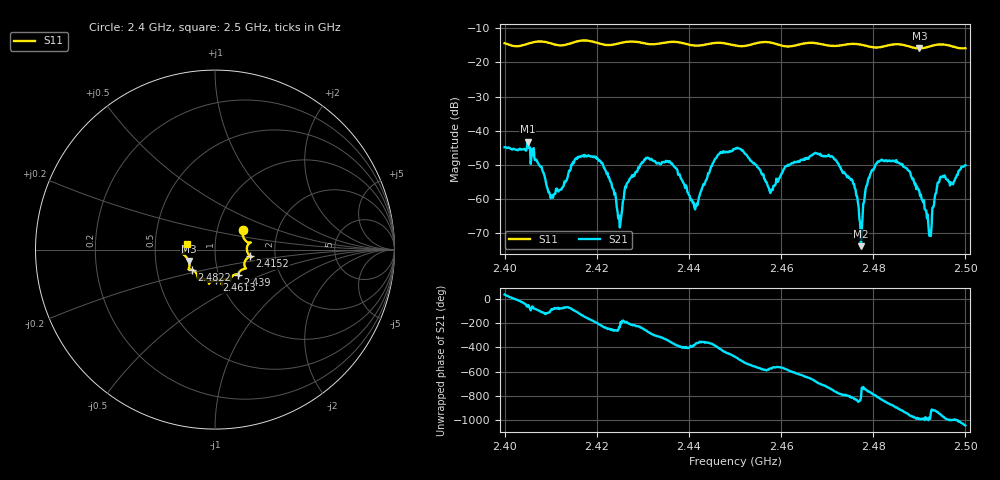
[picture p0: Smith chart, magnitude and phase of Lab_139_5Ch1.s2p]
# Hz S RI R 50
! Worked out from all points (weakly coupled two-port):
!   601 points, 2.4 GHz to 2.5 GHz, reference 50 ohm
!   highest |S21| = -43.22 dB at 2.405 GHz (marker M1); lowest = -73.7 dB at 2.4773 GHz (marker M2)
!   lowest |S11| = -15.9 dB at 2.49 GHz (marker M3), VSWR 1.38, Z = 36.9 - j4.81 ohm
!   |S11| at or under -10 dB: start of sweep to end of sweep
!   S12 and S22 are empty: the file has one direction only
!   S11 on the Smith chart (normalised r, x): 2.4 GHz: 1.33, +0.31; 2.4152 GHz: 1.48, -0.11; 2.439 GHz: 1.24, -0.36; 2.4613 GHz: 0.96, -0.34; 2.4822 GHz: 0.75, -0.17; 2.5 GHz: 0.73, +0.05
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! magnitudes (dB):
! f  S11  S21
! 2.4 GHz  -14.4  -44.8
! 2.405 GHz  -14.6  -43.2
! 2.4103 GHz  -14.6  -58.8
! 2.4152 GHz  -14.1  -48.7
! 2.4167 GHz  -13.6  -47.4
! 2.4212 GHz  -14.7  -49.4
! 2.425 GHz  -14.4  -68.3
! 2.4333 GHz  -14.5  -49.4
! 2.439 GHz  -14.5  -55.7
! 2.4415 GHz  -15.1  -62.2
! 2.45 GHz  -15.0  -45.2
! 2.4577 GHz  -14.2  -58.2
! 2.4613 GHz  -15.3  -50.2
! 2.4667 GHz  -14.3  -47.2
! 2.4753 GHz  -14.6  -54.2
! 2.4773 GHz  -14.8  -73.7
! 2.4822 GHz  -15.4  -48.7
! 2.4833 GHz  -15.0  -48.8
! 2.49 GHz  -15.9  -57.6
! 2.4922 GHz  -15.4  -70.7
! 2.4945 GHz  -14.7  -53.7
! 2.5 GHz  -15.8  -50.1
